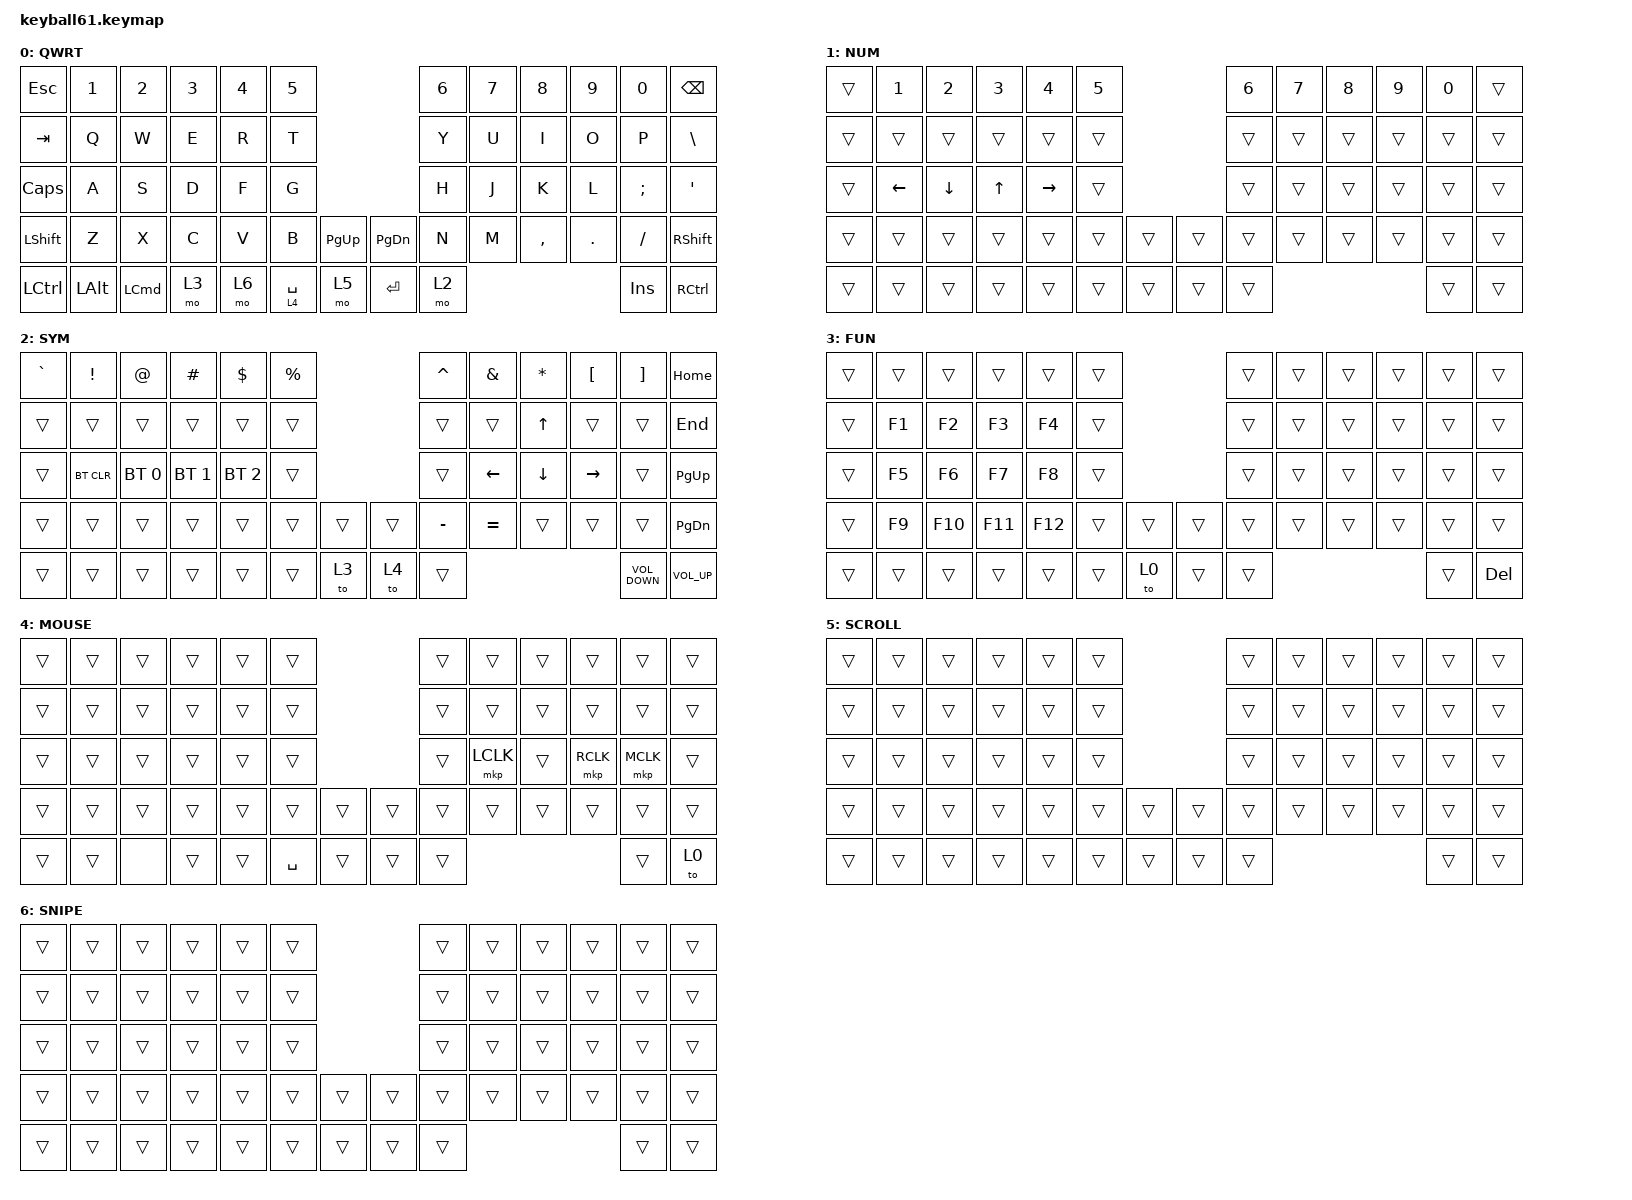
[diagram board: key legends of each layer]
#define DEFAULT 0
#define SYM     1
#define FUN     2
#define MOUSE   3
#define SCROLL  4
#define SNIPE   5

#include <behaviors/mouse_keys.dtsi>
#include <dt-bindings/zmk/mouse.h>
#include <behaviors.dtsi>
#include <dt-bindings/zmk/bt.h>
#include <dt-bindings/zmk/keys.h>
#include <dt-bindings/zmk/pointing.h>

&lt {
    tapping-term-ms = <240>;
    flavor = "balanced";
    quick-tap-ms = <150>;
};

&mt {
    tapping-term-ms = <200>;
    flavor = "tap-preferred";
    quick-tap-ms = <150>;
};

/ {
    keymap {
        compatible = "zmk,keymap";

        default_layer {
            label = "QWRT";
            bindings = <
&kp ESC         &kp N1        &kp N2            &kp N3  &kp N4  &kp N5                                   &kp N6  &kp N7  &kp N8     &kp N9   &kp N0      &kp BSPC
&kp TAB         &kp Q         &kp W             &kp E   &kp R   &kp T                                    &kp Y   &kp U   &kp I      &kp O    &kp P       &kp BACKSLASH
&kp CAPS        &kp A         &kp S             &kp D   &kp F   &kp G                                    &kp H   &kp J   &kp K      &kp L    &kp SEMI    &kp SQT
&kp LEFT_SHIFT  &kp Z         &kp X             &kp C   &kp V   &kp B        &kp PAGE_UP  &kp PAGE_DOWN  &kp N   &kp M   &kp COMMA  &kp DOT  &kp FSLH    &kp RIGHT_SHIFT
&kp LCTRL       &kp LEFT_ALT  &kp LEFT_COMMAND  &mo 3   &mo 6   &lt 4 SPACE  &mo 5        &kp ENTER      &mo 2                               &kp INSERT  &kp RIGHT_CONTROL
            >;
        };

        number_layer {
            bindings = <
&trans  &kp N1    &kp N2    &kp N3  &kp N4     &kp N5                  &kp N6  &kp N7  &kp N8  &kp N9  &kp N0  &trans
&trans  &trans    &trans    &trans  &trans     &trans                  &trans  &trans  &trans  &trans  &trans  &trans
&trans  &kp LEFT  &kp DOWN  &kp UP  &kp RIGHT  &trans                  &trans  &trans  &trans  &trans  &trans  &trans
&trans  &trans    &trans    &trans  &trans     &trans  &trans  &trans  &trans  &trans  &trans  &trans  &trans  &trans
&trans  &trans    &trans    &trans  &trans     &trans  &trans  &trans  &trans                          &trans  &trans
            >;

            label = "NUM";
        };

        symbol_layer {
            label = "SYM";
            bindings = <
&kp GRAVE  &kp EXCLAMATION  &kp AT_SIGN   &kp HASH      &kp DOLLAR    &kp PERCENT                  &kp CARET  &kp AMPERSAND   &kp ASTERISK    &kp LEFT_BRACKET  &kp RIGHT_BRACKET  &kp HOME
&trans     &trans           &trans        &trans        &trans        &trans                       &trans     &trans          &kp UP_ARROW    &trans            &trans             &kp END
&trans     &bt BT_CLR       &bt BT_SEL 0  &bt BT_SEL 1  &bt BT_SEL 2  &trans                       &trans     &kp LEFT_ARROW  &kp DOWN_ARROW  &kp RIGHT         &trans             &kp PAGE_UP
&trans     &trans           &trans        &trans        &trans        &trans       &trans  &trans  &kp MINUS  &kp EQUAL       &trans          &trans            &trans             &kp PAGE_DOWN
&trans     &trans           &trans        &trans        &trans        &trans       &to 3   &to 4   &trans                                                       &kp C_VOLUME_DOWN  &kp C_VOLUME_UP
            >;
        };

        function_layer {
            label = "FUN";
            bindings = <
&trans  &trans  &trans   &trans   &trans   &trans                  &trans  &trans  &trans  &trans  &trans  &trans
&trans  &kp F1  &kp F2   &kp F3   &kp F4   &trans                  &trans  &trans  &trans  &trans  &trans  &trans
&trans  &kp F5  &kp F6   &kp F7   &kp F8   &trans                  &trans  &trans  &trans  &trans  &trans  &trans
&trans  &kp F9  &kp F10  &kp F11  &kp F12  &trans  &trans  &trans  &trans  &trans  &trans  &trans  &trans  &trans
&trans  &trans  &trans   &trans   &trans   &trans  &to 0   &trans  &trans                          &trans  &kp DELETE
            >;
        };

        mouse_layer {
            label = "MOUSE";
            bindings = <
&trans  &trans  &trans  &trans  &trans  &trans                     &trans  &trans     &trans  &trans     &trans     &trans
&trans  &trans  &trans  &trans  &trans  &trans                     &trans  &trans     &trans  &trans     &trans     &trans
&trans  &trans  &trans  &trans  &trans  &trans                     &trans  &mkp LCLK  &trans  &mkp RCLK  &mkp MCLK  &trans
&trans  &trans  &trans  &trans  &trans  &trans     &trans  &trans  &trans  &trans     &trans  &trans     &trans     &trans
&trans  &trans  &none   &trans  &trans  &kp SPACE  &trans  &trans  &trans                                &trans     &to 0
            >;
        };

        scroll_layer {
            label = "SCROLL";
            bindings = <
&trans  &trans  &trans  &trans  &trans  &trans                  &trans  &trans  &trans  &trans  &trans  &trans
&trans  &trans  &trans  &trans  &trans  &trans                  &trans  &trans  &trans  &trans  &trans  &trans
&trans  &trans  &trans  &trans  &trans  &trans                  &trans  &trans  &trans  &trans  &trans  &trans
&trans  &trans  &trans  &trans  &trans  &trans  &trans  &trans  &trans  &trans  &trans  &trans  &trans  &trans
&trans  &trans  &trans  &trans  &trans  &trans  &trans  &trans  &trans                          &trans  &trans
            >;
        };

        snipe_layer {
            label = "SNIPE";
            bindings = <
&trans  &trans  &trans  &trans  &trans  &trans                  &trans  &trans  &trans  &trans  &trans  &trans
&trans  &trans  &trans  &trans  &trans  &trans                  &trans  &trans  &trans  &trans  &trans  &trans
&trans  &trans  &trans  &trans  &trans  &trans                  &trans  &trans  &trans  &trans  &trans  &trans
&trans  &trans  &trans  &trans  &trans  &trans  &trans  &trans  &trans  &trans  &trans  &trans  &trans  &trans
&trans  &trans  &trans  &trans  &trans  &trans  &trans  &trans  &trans                          &trans  &trans
            >;
        };
    };
};
